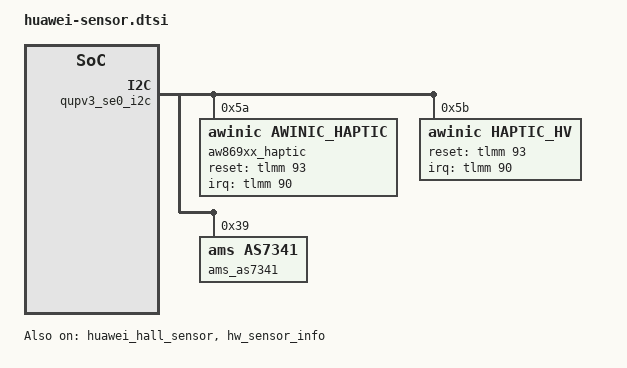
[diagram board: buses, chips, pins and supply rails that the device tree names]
&qupv3_se0_i2c {
	status = "ok";
	aw869xx_haptic@5A {
		compatible = "awinic,awinic_haptic";
		reg = < 0x5A >;
		reset-gpio = <&tlmm 93 0>;
		irq-gpio = <&tlmm 90 0>;
		vib_mode = < 0 >; /* mode: RAM mode->0; CONT mode->1 */
		vib_f0_ref = < 1700 >;
		vib_f0_cali_percent = < 7 >;
		vib_cont_drv1_lvl = < 0x7F >;
		vib_cont_drv2_lvl = < 0x36 >;
		vib_cont_brk_time = < 0x06 >;
		vib_cont_tset = < 0x06 >;
		vib_cont_bemf_set = < 0x02 >;
		vib_cont_drv_width = < 0x6A >;
		vib_cont_wait_num = < 0x06 >;
		vib_cont_bst_brk_gain = < 0x05 >;
		vib_cont_brk_gain = < 0x08 >;
		vib_cont_drv1_time = < 0x04 >;
		vib_cont_drv2_time = < 0x22 >;
		vib_cont_track_margin = < 0x12 >;
		vib_sine_array = < 0x05 0xB2 0xFF 0xEF >;
		vib_d2s_gain = < 0x04 >;
		vib_bstcfg = < 0x20 0x24 0x9A 0x40 0x11 >;
		vib_prctmode = < 0x2D 0x3E 0x3F >;
		vib_trig_config = < 1 0 1 1 1 2 0 0
							1 0 0 1 0 2 0 0
							1 0 0 1 0 2 0 0 >;
		vib_is_enabled_auto_bst;
		vib_is_enabled_i2s;
		vib_is_enabled_powerup_f0_cali;
		status = "okay";
	};
	haptic_hv@5B {
		compatible = "awinic,haptic_hv";
		reg = < 0x5B>;
		reset-gpio = <&tlmm 93 0>;
		irq-gpio = <&tlmm 90 0>;
		i2c_real_addr = <0x5A>;
		f0_pre = < 1700 >;
		mode = /bits/ 8 < 0 >;
		f0_cali_percent = /bits/ 8 < 7 >;
		boost_power_on = < 1 >;
		boost_fw = <0>;	/* power: hardware->0; software->1 */
		bst_enable = <1>;	/* bst enable: unable->0; enable->1 */
/*************************86927************************/
		aw8692x_max_bst_vol = /bits/ 8 < 0x7F >;
		aw8692x_cont_drv1_lvl = /bits/ 8 < 0xF3 >;
		aw8692x_cont_drv2_lvl = /bits/ 8 < 0x32 >;
		aw8692x_cont_drv1_time = /bits/ 8 < 0x04 >;
		aw8692x_cont_drv2_time = /bits/ 8 < 0x06 >;
		aw8692x_cont_drv_width = /bits/ 8 < 0x6A >;
		aw8692x_cont_wait_num = /bits/ 8 < 0x06 >;
		aw8692x_cont_brk_time = /bits/ 8 < 0x08 >;
		aw8692x_cont_track_margin = /bits/ 8 < 0x0C >;
		aw8692x_brk_bst_md = /bits/ 8 < 0 >;
		aw8692x_cont_tset = /bits/ 8 < 0x06 >;
		aw8692x_cont_bemf_set = /bits/ 8 < 0x02 >;
		aw8692x_cont_bst_brk_gain = /bits/ 8 < 0x05 >;
		aw8692x_cont_brk_gain = /bits/ 8 < 0x08 >;
		aw8692x_duration_time = /bits/ 8 < 20 30 60 >;
		aw8692x_d2s_gain = /bits/ 8 < 0x04 >;
		aw8692x_trig_config = /bits/ 8 < 0 0 0 1 0 2 0 0
						 0 0 0 1 0 2 0 0
						 0 0 0 1 0 2 0 0 >;
		aw8692x_bst_vol_default = /bits/ 8 < 0x58 >;
		aw8692x_bst_vol_ram = /bits/ 8 < 0x50 >;
		aw8692x_bst_vol_rtp = /bits/ 8 < 0x50 >;
		/* aw8692x_is_enabled_auto_bst; */
		/* aw8692x_is_enabled_one_wire; */
		status = "okay";
	};
	ams_as7341@39 {
		compatible = "ams,as7341";
		reg = <0x39>;
		flicker_support = <1>;
		algo_support = <1>;
		status = "ok";
	};
};
&tlmm {
	ak8789_default: ak8789_default {
		mux {
			pins = "gpio80","gpio51";
			function =  "gpio";
		};
		config {
			pins = "gpio80","gpio51";
			drive-strength = <2>;
			bias-pull-up;
		};
	};
};
&huawei_hall_sensor {
	compatible = "huawei,hall-ak8789";
	status = "ok";
	pinctrl-names = "default";
	pinctrl-0 = <&ak8789_default>;
	ext_hall_type = <6>;
	ext_bit2_comp_val = <1>;
	ext_bit1_comp_val = <0>;
	is_support_ext_hall_notify = <1>;
	ext_hall_boot_up_notify = <1>;
	hall_int_delay = <0>;
	huawei,hall_0 {
		huawei,single-n-pole = <&tlmm 80 0>;
		huawei,single-s-pole = <&tlmm 51 0>;
		huawei,id = <0>;
		huawei,type = <0x03>;
		huawei,wakeup-flag = <0x4000>;
		huawei,default-state = "on";
	};
};

&hw_sensor_info {
       compatible = "huawei,sensor_info";
       is_support_poweroff_charge_fold_notify = <1>;
       ps_laser_prox_available = <1>;
       status = "ok";
};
